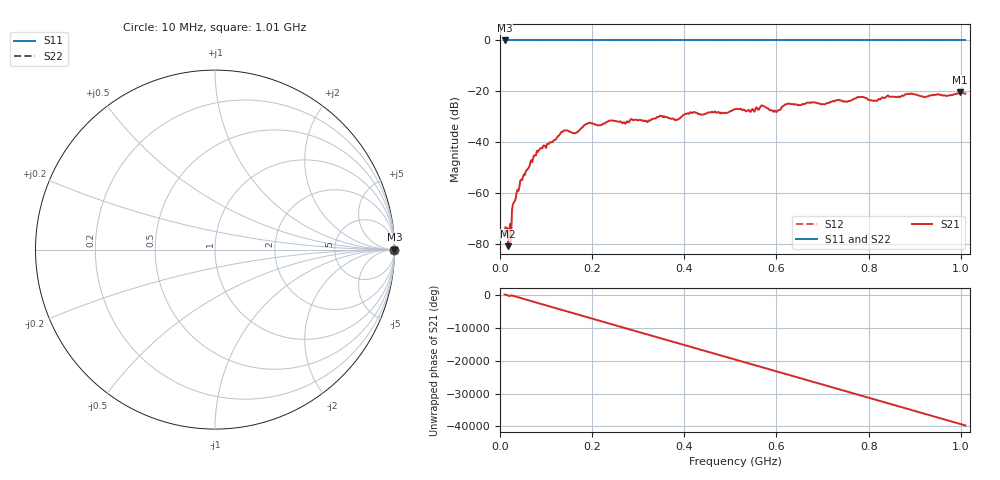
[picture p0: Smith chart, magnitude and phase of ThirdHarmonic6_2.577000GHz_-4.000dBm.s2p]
! 8/17/2025 5:25:49 AM
! C:\ANRITSUVNA\TEMP\TEMP.S2P
! CHANNEL.1
! TR.MEASUREMENT
! RAW.DATA
! RF.CORRECTION.OFF
! AVERAGING.OFF
! IF.BANDWIDTH: 5KHZ
! SWEEPTYPE:  FREQ.SWEEP(Linear)
! Reference Plane Port Info
! PORT:  PORT1  PORT2
! DISTANCE:  0  m  0  m
! TIME:  0  s  0  s
! PHASE.OFFSET:  0  deg.  0  deg.
! LOSS:  0  dB  0  dB
! REF.LOSS:  0  dB  0  dB
! REF.FREQ:  0  Hz  0  Hz
! Power Info
! POWER:  -20  dBm  -20  dBm
! EFF.POWER:  -20  dBm  -20  dBm
! SOURCE.ATTEN:  0  dB  0  dB
! TEST.ATTEN:  0  dB  0  dB
# GHZ S RI R 50.0
! FREQ.GHZ  S11RE  S11IM  S21RE  S21IM  S12RE  S12IM  S22RE  S22IM
!; PortSelection: Port_12
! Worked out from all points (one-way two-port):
!   501 points, 10 MHz to 1.01 GHz, reference 50 ohm
!   highest |S21| = -20.29 dB at 998 MHz (marker M1); lowest = -80.7 dB at 18 MHz (marker M2)
!   lowest |S11| = 0.0 dB at 10 MHz (marker M3)
!   |S11| at or under -10 dB: nowhere
!   |S22| runs from 0.0 to 0.0 dB; largest |S21 - S12| = 1.1
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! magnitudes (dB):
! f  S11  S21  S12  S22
! 10 MHz  0.0  -76.9  0.0  0.0
! 18 MHz  0.0  -80.7  0.0  0.0
! 22 MHz  0.0  -72.0  0.0  0.0
! 30 MHz  0.0  -63.6  0.0  0.0
! 42 MHz  0.0  -57.6  0.0  0.0
! 76 MHz  0.0  -45.1  0.0  0.0
! 136 MHz  0.0  -35.8  0.0  0.0
! 164 MHz  0.0  -36.3  0.0  0.0
! 178 MHz  0.0  -34.1  0.0  0.0
! 344 MHz  0.0  -30.0  0.0  0.0
! 384 MHz  0.0  -31.1  0.0  0.0
! 416 MHz  0.0  -28.4  0.0  0.0
! 510 MHz  0.0  -27.0  0.0  0.0
! 548 MHz  0.0  -26.9  0.0  0.0
! 570 MHz  0.0  -25.6  0.0  0.0
! 598 MHz  0.0  -27.8  0.0  0.0
! 622 MHz  0.0  -25.0  0.0  0.0
! 678 MHz  0.0  -24.3  0.0  0.0
! 814 MHz  0.0  -23.6  0.0  0.0
! 844 MHz  0.0  -22.0  0.0  0.0
! 998 MHz  0.0  -20.3  0.0  0.0
! 1.01 GHz  0.0  -20.9  0.0  0.0
